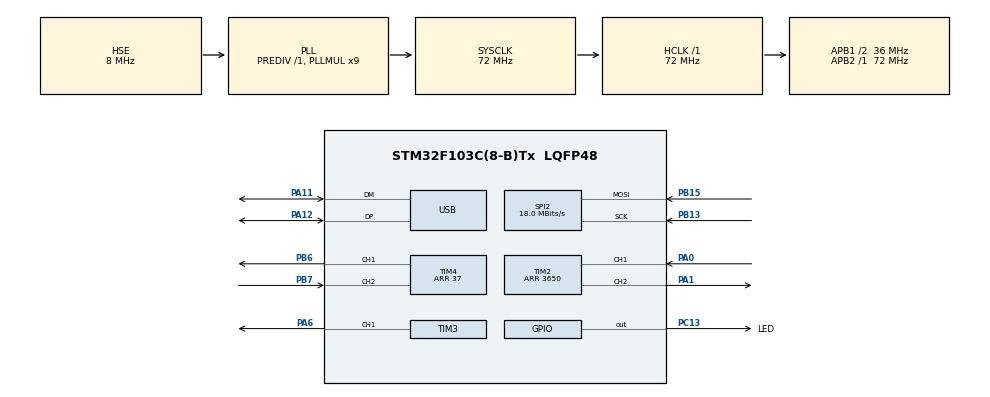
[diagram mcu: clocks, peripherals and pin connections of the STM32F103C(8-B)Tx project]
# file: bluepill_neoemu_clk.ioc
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Mcu.Family=STM32F1
Dma.SPI2_RX.0.Instance=DMA1_Channel4
VP_TIM2_VS_OPM.Mode=OPM_bit
USB_DEVICE.CLASS_NAME_FS=CDC
SPI2.VirtualType=VM_SLAVE
VP_TIM4_VS_OPM.Mode=OPM_bit
PA11.Mode=Device
TIM3.Pulse-Output\ Compare1\ CH1=1
TIM2.Channel-PWM\ Generation2\ CH2=TIM_CHANNEL_2
PB13.Signal=SPI2_SCK
PB15.Signal=SPI2_MOSI
TIM4.TIM_MasterOutputTrigger=TIM_TRGO_OC1
RCC.SYSCLKSource=RCC_SYSCLKSOURCE_PLLCLK
ProjectManager.StackSize=0x400
PD1-OSC_OUT.Signal=RCC_OSC_OUT
PA12.Signal=USB_DP
TIM4.OCFastMode_PWM-PWM\ Generation1\ CH1=TIM_OCFAST_ENABLE
RCC.HCLKFreq_Value=72000000
RCC.APB2TimFreq_Value=72000000
TIM3.Period=7
TIM4.Pulse-PWM\ Generation1\ CH1=1
TIM4.OCMode_PWM-PWM\ Generation1\ CH1=TIM_OCMODE_PWM2
PB6.Signal=S_TIM4_CH1
VP_TIM3_VS_ControllerModeClock.Mode=Clock Mode
RCC.AHBFreq_Value=72000000
SPI2.BaudRatePrescaler=SPI_BAUDRATEPRESCALER_2
VP_TIM4_VS_ControllerModeTrigger.Mode=Trigger Mode
RCC.PLLMUL=RCC_PLL_MUL9
PA14.Mode=Serial_Wire
NVIC.TIM2_IRQn=true\:0\:0\:false\:false\:true\:true\:true
SPI2.CalculateBaudRate=18.0 MBits/s
SH.S_TIM4_CH2.0=TIM4_CH2,TriggerSource_TI2FP2
Dma.SPI2_RX.0.MemDataAlignment=DMA_MDATAALIGN_BYTE
PB7.Signal=S_TIM4_CH2
SH.S_TIM3_CH1.0=TIM3_CH1,Output Compare1 CH1
TIM4.Period=37
VP_TIM3_VS_ClockSourceITR.Mode=TriggerSource_ITR3
Dma.SPI2_RX.0.MemInc=DMA_MINC_ENABLE
Mcu.Package=LQFP48
PA6.Signal=S_TIM3_CH1
SPI2.Mode=SPI_MODE_SLAVE
SPI2.CLKPhase=SPI_PHASE_2EDGE
TIM2.Pulse-PWM\ Generation2\ CH2=3602
TIM2.TIM_MasterOutputTrigger=TIM_TRGO_RESET
SH.S_TIM4_CH1.0=TIM4_CH1,PWM Generation1 CH1
RCC.APB1TimFreq_Value=72000000
SPI2.Direction=SPI_DIRECTION_2LINES_RXONLY
Dma.SPI2_RX.0.Direction=DMA_PERIPH_TO_MEMORY
PB13.Mode=RX_Only_Simplex_Unidirect_Slave
NVIC.DMA1_Channel4_IRQn=true\:0\:0\:false\:false\:true\:false\:true
Dma.Request0=SPI2_RX
TIM4.Channel-PWM\ Generation1\ CH1=TIM_CHANNEL_1
PD1-OSC_OUT.Mode=HSE-External-Oscillator
USB_DEVICE.VirtualModeFS=Cdc_FS
Dma.SPI2_RX.0.Mode=DMA_CIRCULAR
PC13-TAMPER-RTC.Signal=GPIO_Output
RCC.USBPrescaler=RCC_USBCLKSOURCE_PLL_DIV1_5
PD0-OSC_IN.Signal=RCC_OSC_IN
RCC.APB1CLKDivider=RCC_HCLK_DIV2
PA0-WKUP.Signal=S_TIM2_CH1_ETR
PA13.Signal=SYS_JTMS-SWDIO
SH.S_TIM2_CH2.0=TIM2_CH2,PWM Generation2 CH2
Dma.SPI2_RX.0.PeriphDataAlignment=DMA_PDATAALIGN_BYTE
ProjectManager.TargetToolchain=MDK-ARM V5.27
VP_USB_DEVICE_VS_USB_DEVICE_CDC_FS.Mode=CDC_FS
RCC.USBFreq_Value=48000000
PA1.Signal=S_TIM2_CH2
TIM3.Channel-Output\ Compare1\ CH1=TIM_CHANNEL_1
PD0-OSC_IN.Mode=HSE-External-Oscillator
board=custom
PC13-TAMPER-RTC.GPIO_Label=LED
PB15.Mode=RX_Only_Simplex_Unidirect_Slave
NVIC.TIM3_IRQn=true\:0\:0\:false\:false\:true\:true\:true
RCC.APB2Freq_Value=72000000
TIM2.OCMode_PWM-PWM\ Generation2\ CH2=TIM_OCMODE_PWM2
TIM3.OCMode_1=TIM_OCMODE_ACTIVE
NVIC.USB_LP_CAN1_RX0_IRQn=true\:0\:0\:false\:false\:true\:false\:true
TIM2.Period=3650
PA13.Mode=Serial_Wire
Dma.SPI2_RX.0.Priority=DMA_PRIORITY_MEDIUM
Mcu.Name=STM32F103C(8-B)Tx
RCC.SYSCLKFreq_VALUE=72000000
PA12.Mode=Device
VP_TIM2_VS_ControllerModeTrigger.Mode=Trigger Mode
Dma.SPI2_RX.0.PeriphInc=DMA_PINC_DISABLE
PA11.Signal=USB_DM
SH.S_TIM2_CH1_ETR.0=TIM2_CH1,TriggerSource_TI1FP1
PA14.Signal=SYS_JTCK-SWCLK
ProjectManager.HeapSize=0x200
NVIC.PriorityGroup=NVIC_PRIORITYGROUP_4
TIM2.OCFastMode_PWM-PWM\ Generation2\ CH2=TIM_OCFAST_DISABLE
NVIC.TIM4_IRQn=true\:0\:0\:false\:false\:true\:true\:true
RCC.APB1Freq_Value=36000000
USB_DEVICE.VirtualMode=Cdc

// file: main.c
/* USER CODE BEGIN Header */
/**
  ******************************************************************************
  * @file           : main.c
  * @brief          : Main program body
  ******************************************************************************
  * @attention
  *
  * <h2><center>&copy; Copyright (c) 2021 STMicroelectronics.
  * All rights reserved.</center></h2>
  *
  * This software component is licensed by ST under BSD 3-Clause license,
  * the "License"; You may not use this file except in compliance with the
  * License. You may obtain a copy of the License at:
  *                        opensource.org/licenses/BSD-3-Clause
  *
  ******************************************************************************
	This code supports NeoPill, a Neopixel Emulator, where connecting the Neopixel serial data from a device (an Arduino dev board, for example)
	to a STM32 dev board converts the Neopixel serial data to USB serial data (a Neopixel->USB bridge.)
	A PC runs python code that takes this USB data and converts it to colored objects on the screen.

	This code is specific for the STM32F103C8T6 BluePill.

	Lower level:
	Read Neopixel serial data using SPI, where the pixel bitstream is fed into both MOSI and TIM4.
	TIM4 then generates a one-shot pulse (CH1 out) wired to SCK.
	The pulse is configured to match the bitstream timing T0H, T1H of <500ns = 0, >550ns = 1.
	CH2 in delay is 3 clks (Output compare fast enable), and CH1 out has resolution of 13.88ns (72MHz sys clock, Prescaler = 0) per count.
	So each data bit generates a SCK pulse about 550ns duration.

	For 72MHz clock (13.88ns):
	TIM4 ARR for one pulse mode:
	550ns - (3*13.88) = 508.33ns
	508.33ns/13.88 = 36.6 counts min. Make this 37 (555ns) for TIM4 ARR.

	SPI data bytes are DMA'd to a buffer, and sent out USB.
	Input rate testing never got higher than 64kbytes/s, using Arduino Nano target. Max rate should be around 100kbytes/s.

	Neopixel End of Data frame (EoF) (causing each pixel to latch) is 6us or longer of low level, typically stated as >50us.
	TIM3 is clocked from TIM4 ITR3, divided by 8, and is essentially a byte counter of the data going into the SPI.
	Every 8 bits of Neopixel data TIM3's ISR starts/restarts TIM2 one-pulse delay. Upon TIM2 one-pulse timeout an EoF ISR triggers.

	TIM2 Pulse delay:
	50us/13.88ns = 3602 counts.

	The EoF ISR is used to initially sync the SPI data out the USB, assuming the PC side is ready to accept the data. Once sync'd
	and running there is no further syncing.

	For the PC to sync/re-sync with the Neopixel data frames:
	  1) send a one character 'F' to flush the USB (in case re-syncing) and reset the SPI interface.
		2) the PC flushes its USB data as well.
		3) send a one character 'S' to start the data stream after the last EoF.

	For tweaking TIM2, TIM4 timer values a simple text string from the PC is supported:
		'T nnn mmm'
		see pc_host_timing_req() below.

  Environment:
	  CubeMX 6.1.1
	  Keil uVision 5.26
		BluePill STM32F103C8T6, 16kRAM,64kFlash, 72MHz clk.
		All code in main.c, with small mods in usbd_cdc_if.c, usbd_cdc_if.h

	BluePill pinout/timers:

	PB7 TIM4 CH2 input <-serial Neopixel data from external dev bd.

	PB6 TIM4 CH1 output -> generates SPI2_SCK (to PB13), use jumper.
			TIM3 CH1 SPI2 input byte counter (no pins used)
			TIM2 CH1 -> frame end ITR (no pins used)

	PB15 SPI2 MOSI input, Rx DMA1 CH4, <-serial Neopixel data from external dev bd.
	PB13 SPI2 SCK input <- TIM4 CH1 (from PB6)

	LEDs
	PC13 LED_Pin (built-in): red heartbeat, various speeds.

	On PC side, set COM baud rate to max 12,000,000 .

	R. Elwin 5/2021

  */

/* USER CODE END Header */
#include "main.h"
#include "usb_device.h"

/* USER CODE BEGIN Includes */
#include "usbd_cdc_if.h"
#include <limits.h>
/* USER CODE END Includes */

SPI_HandleTypeDef hspi2;
DMA_HandleTypeDef hdma_spi2_rx;

TIM_HandleTypeDef htim2;
TIM_HandleTypeDef htim3;
TIM_HandleTypeDef htim4;

/* USER CODE BEGIN PV */
extern uint8_t CDC_Flush_FS(void);

#define SPI_BSIZE	8192							// also look at USB's APP_TX_DATA_SIZE
uint8_t spi_rx_buffer[SPI_BSIZE];

//items used in an ISR
volatile uint32_t spi_rx_ctr;
volatile uint32_t tim2_ch1_isr_ctr;		//EoF ISR counter
volatile uint32_t frame_byte_ctr;
volatile uint8_t usb_sync_flag,usb_flush_flag;

//helpful debugging aids
uint32_t dbg_spi_isr, dbg_rx_rate;
uint32_t dbg_spi_err, dbg_spi_state;
uint32_t dbg_tim3_ch1_isr;
uint32_t dbg_dma_ctr;
uint32_t dbg_frame_overflow;
uint32_t dbg_tim3_cnt;

//PC host changes default input timings if >0
uint16_t pchost_tim4_Period;
uint16_t pchost_tim2_Pulse;

//USB counters, also helpful for debugging
uint32_t usb_fail;
uint32_t usb_busy;
uint32_t usb_bytes_tx_ctr;

/* USER CODE END PV */

void SystemClock_Config(void);
static void MX_GPIO_Init(void);
static void MX_DMA_Init(void);
static void MX_SPI2_Init(void);
static void MX_TIM2_Init(void);
static void MX_TIM3_Init(void);
static void MX_TIM4_Init(void);

/* USER CODE BEGIN 0 */
//calcs difference between 2 timestamps -- just uint w/rollover.
// ts > last_ts
uint32_t calc_ts_et(uint32_t ts, uint32_t last_ts)
{
  if ( ts >= last_ts )
  {
    return ( ts - last_ts );
  }
  else
  {
    return ( 1 + ts - (ULONG_MAX - last_ts) );
  }
}

/*
Timing change request from PC, in text, 'T nnn mmm'
where:
nnn= T1H bit timing in clks.
mmm= TLL (or reset latch) End of Frame timeout pulse in counts.

(see notes at top)
For 72MHz clock (13.88ns)
ETR -> CH2 delay is 3 clks
TIM2 ARR for one-shot pulse for T1H of 550ns:
	550ns - (3*13.88) = 508.33ns
	508.33ns/13.88 = 36.6 counts min. Make this 38 for TIM4 Period.

TLL's TIM2 Pulse defaults to 3602 counts (50us). TIM2 Period > Pulse (I made this arbitrarily 50.)

*/
void pc_host_timing_req(uint8_t* Buf, uint32_t Len)
{
	char in_str[16];
	int i,j,n;
	uint16_t t1h, tll;

	//strip leading 'T', then '\0-terminate
	for( i=0, j=1; j<Len && i<sizeof(in_str)-1; i++, j++)
	{
		in_str[i] = Buf[j];
	}
	in_str[i] = '\0';
	n = sscanf( in_str, "%hu %hu", &t1h, &tll);

	//save if all's well
	if( n == 2 )
	{
		pchost_tim4_Period = t1h;
		pchost_tim2_Pulse = tll;
	}
}

//for SPI DMA circular buffer, Intr when wrap -- used to track overflow.
void HAL_SPI_RxCpltCallback(SPI_HandleTypeDef *hspi)
{
	spi_rx_ctr += SPI_BSIZE;		//another block read
}

//for testing
void HAL_SPI_ErrorCallback (SPI_HandleTypeDef * hspi)
{
	dbg_spi_err = HAL_SPI_GetError(hspi);							//just returns hspi field, not register
	dbg_spi_state = HAL_SPI_GetState(hspi);
}

/*
TIMER Pulse complete ISR, both TIM2 and TIM3.
Be careful of which channel generates INTR as HAL may enable multiple channels.
Also be careful of ISR latency as the SPI input bit stream is about 10us per byte.

SPI input bit stream is counted by TIM3. Every 8 counts this ISR resets/restarts TIM2 one-shot.
Upon TIM2 one-shot completion, its ISR indicates an End of Frame.

Upon EoF TIM3, TIM4 counters are reset in case we started out of sync with the Neopixel bitstream.
*/

void HAL_TIM_PWM_PulseFinishedCallback(TIM_HandleTypeDef *htim)
{

	if( &htim3 == htim )
	{
		if (htim->Channel == HAL_TIM_ACTIVE_CHANNEL_1)  // we're using TIM3 channel 1
		{
			//input SPI byte counter triggers this intr, resets TIM2 one-shot
			dbg_tim3_ch1_isr++;

			htim2.Instance->EGR |= TIM_EGR_UG;				// UG=1, clears counter, CEN =0
			htim2.Instance->CR1 |= TIM_CR1_CEN;				// CEN =1, now running , or use macro	__HAL_TIM_ENABLE(&htim4);
		}
	}
	else if( &htim2 == htim )
	{
		// TIM2 one-shot expires indicating End of Frame (EoF)
		if (htim->Channel == HAL_TIM_ACTIVE_CHANNEL_2)  // we're using TIM2 channel 2
		{
			uint16_t d;

			dbg_tim3_cnt+=htim3.Instance->CNT;		//test, see if TIM3 clocked during last delay. This indicates we're out of sync.

			//htim3.Instance->CR1 |= TIM_CR1_UDIS;		//URS=1, so no UG INT
			htim3.Instance->EGR |= TIM_EGR_UG;				// UG=1, clears TIM3 counter, in case we started out of sync with bitstream
			htim4.Instance->EGR |= TIM_EGR_UG;				//clear TIM4 too

			tim2_ch1_isr_ctr++;

			//this checks if we're overflowing SPI buffer -- for debug only
			frame_byte_ctr = spi_rx_ctr;
			d = __HAL_DMA_GET_COUNTER( &hdma_spi2_rx );
			if( d > 0 )
				frame_byte_ctr += (SPI_BSIZE - d);	// convert to byte counter with DMA register CNDTR, this is our latest EoF

			if( frame_byte_ctr >= (usb_bytes_tx_ctr + SPI_BSIZE) )		//check if overflowing SPI buffer
				dbg_frame_overflow++;																		//debug counter

		}
	}
}

/* USER CODE END 0 */

int main(void)
{
  /* USER CODE BEGIN 1 */
	uint32_t led_heartbeat = 0;
	uint16_t dmaout_idx;
	uint16_t dmain_ctr, dmaout_ctr;
	uint16_t n, next_ctr;
	int e;
	uint8_t usb_sync_flag2, usb_flush_flag2;
  /* USER CODE END 1 */

  /* MCU Configuration--------------------------------------------------------*/

  /* Reset of all peripherals, Initializes the Flash interface and the Systick. */
  HAL_Init();

  /* Configure the system clock */
  SystemClock_Config();

  /* Initialize all configured peripherals */
  MX_GPIO_Init();
  MX_DMA_Init();
  MX_SPI2_Init();
  MX_TIM2_Init();
  MX_TIM3_Init();
  MX_TIM4_Init();
  MX_USB_DEVICE_Init();
  /* USER CODE BEGIN 2 */

	usb_sync_flag2 = usb_sync_flag;		//init flags

	/****** resync ************/
	//In case PC re-syncs, re-init TIMers, SPI. Don't Touch USB as this causes COM port grief!
	label_resync:

	//undo/redo SPI
	__HAL_DMA_DISABLE_IT( &hdma_spi2_rx, DMA_IT_TC );
	HAL_SPI_DeInit (&hspi2);
	MX_SPI2_Init();

	//turn off TIM 2,3,4
	HAL_TIM_OnePulse_Stop(&htim4,TIM_CHANNEL_1);
	HAL_TIM_OnePulse_Stop_IT (&htim2, TIM_CHANNEL_2);
	HAL_TIM_IC_Stop_IT(&htim3, TIM_CHANNEL_1);

	//de-init'em
	HAL_TIM_OnePulse_DeInit(&htim2);
	HAL_TIM_OnePulse_DeInit(&htim3);
	HAL_TIM_IC_DeInit(&htim4);

	//re-do'em
	MX_TIM2_Init();
	MX_TIM3_Init();
	MX_TIM4_Init();

	/******** end resync ***********/

	//wait for PC sync command
	while( usb_sync_flag2 == usb_sync_flag )
	{
		if( calc_ts_et( HAL_GetTick(), led_heartbeat ) >= 100 )		//fast pulse
		{
			HAL_GPIO_TogglePin(LED_GPIO_Port , LED_Pin );
			led_heartbeat = HAL_GetTick();
		}
	}

	usb_sync_flag2 = usb_sync_flag;		//done w/resync
	usb_flush_flag2 = usb_flush_flag;	//in case flushed

	//'manually' change timings if requested
	if( pchost_tim4_Period )
	{
		htim4.Instance->ARR = pchost_tim4_Period;
	}
	if( pchost_tim2_Pulse )
	{
		htim2.Instance->CCR1 = pchost_tim2_Pulse;
		htim2.Instance->ARR = pchost_tim2_Pulse + 50;  //ARR > CCR1
	}

	// start TIM 2,3,4
	HAL_TIM_OnePulse_Start (&htim4, TIM_CHANNEL_1);				//SCK generator
	HAL_TIM_OnePulse_Start_IT (&htim2, TIM_CHANNEL_2);		//Frame timer, ARR is duration of TMO (CCR1+1), CCR1 = TMO delay
	htim2.Instance->EGR |= TIM_EGR_UG;										// UG=1, clears counter, CEN =0, let TIM3 ISR restart TIM2 to sync properly
	__HAL_TIM_DISABLE_IT(&htim2, TIM_IT_CC1);							//HAL turns on both CH1,2, turn off CH1 intr
	tim2_ch1_isr_ctr = 0;																	//reset before enabling TIM2 ISR

	HAL_TIM_IC_Start_IT (&htim3, TIM_CHANNEL_1);					//start SPI byte counter
	htim3.Instance->CR1 |= TIM_CR1_URS;										//only CNT generates INT

	//wait for Eof to sync to Neopixel bitstream
	while( tim2_ch1_isr_ctr == 0 )
	{
		if( calc_ts_et( HAL_GetTick(), led_heartbeat ) >= 200 )		//less fast pulse, in case SPI bitstream stopped.
		{
			HAL_GPIO_TogglePin(LED_GPIO_Port , LED_Pin );
			led_heartbeat = HAL_GetTick();
		}
	}

	//Will begin a new frame, reset input counters before next frame starts.
	__disable_irq();
	frame_byte_ctr = 0;
	spi_rx_ctr = 0;
	usb_bytes_tx_ctr = 0;
	dmaout_ctr = SPI_BSIZE;
	__enable_irq();

	//start SPI Rx
	HAL_SPI_Receive_DMA ( &hspi2, spi_rx_buffer, SPI_BSIZE);
	__HAL_DMA_ENABLE_IT( &hdma_spi2_rx, DMA_IT_TC );

  /* USER CODE END 2 */

  /* Infinite loop */
  while (1)
  {

    /* USER CODE BEGIN 3 */
		/*
		Read SPI DMA downcounter, if changed convert to index, determine bytes to send to USB.
		Assumes did not wrap from the last read, otherwise buffer overrun (dbg_frame_overflow).
		Ignore CNDTR=0 as this means counter reload in progress -- not sure if our code ever sees this.
		*/

		dmain_ctr = __HAL_DMA_GET_COUNTER( &hdma_spi2_rx );	// DMA register CNDTR is decremented

		if( (dmain_ctr > 0) && (dmain_ctr != dmaout_ctr) )
		{
			if( dmaout_ctr > dmain_ctr )
			{
				n = dmaout_ctr - dmain_ctr;
				next_ctr = dmain_ctr;
			}
			else // dmain_ctr > dmaout_ctr, circular wrap occured, in_cnt =>0 then reloads to SPI_BSIZE
			{
				//do 2 transfers, 1st empties remaining buffer, then wraps, then perform this loop again next poll
				n = dmaout_ctr;				//remaining bytes
				next_ctr = SPI_BSIZE;	//reload out ctr
			}
			dmaout_idx = SPI_BSIZE - dmaout_ctr;	//convert to index 0..SPI_BSIZE-1
			dmaout_ctr = next_ctr;

			//blocking write to USB if waiting for previous transfer, if PC not connected/disconnects we'll overflow and stay in this loop.
			usb_busy = 0;
			while( (e = CDC_Transmit_FS( &spi_rx_buffer[dmaout_idx], n) ) != USBD_OK)
			{
				if( usb_flush_flag2 != usb_flush_flag )
				{
					//PC wants to re-sync, while we're waiting
					CDC_Flush_FS();
					goto label_resync;
				}

				if(e == USBD_BUSY)
				{
					usb_busy++;						//in case waiting for last packet
				}
				else
					usb_fail++;						//some low-level failure, fairly rare.
			}

			if( e == USBD_OK )
			{
				usb_bytes_tx_ctr += n;	//this may wrap
			}
		}

		if( usb_flush_flag2 != usb_flush_flag )
		{
			//PC wants to re-sync
			CDC_Flush_FS();
			goto label_resync;
		}

		//normal heartbeat LED
		if( calc_ts_et( HAL_GetTick(), led_heartbeat ) >= 500 )
		{
			HAL_GPIO_TogglePin(LED_GPIO_Port , LED_Pin );
			led_heartbeat = HAL_GetTick();
		}
  }
  /* USER CODE END 3 */
}

void SystemClock_Config(void)
{
  RCC_OscInitTypeDef RCC_OscInitStruct = {0};
  RCC_ClkInitTypeDef RCC_ClkInitStruct = {0};
  RCC_PeriphCLKInitTypeDef PeriphClkInit = {0};

  /** Initializes the RCC Oscillators according to the specified parameters
  * in the RCC_OscInitTypeDef structure.
  */
  RCC_OscInitStruct.OscillatorType = RCC_OSCILLATORTYPE_HSE;
  RCC_OscInitStruct.HSEState = RCC_HSE_ON;
  RCC_OscInitStruct.HSEPredivValue = RCC_HSE_PREDIV_DIV1;
  RCC_OscInitStruct.HSIState = RCC_HSI_ON;
  RCC_OscInitStruct.PLL.PLLState = RCC_PLL_ON;
  RCC_OscInitStruct.PLL.PLLSource = RCC_PLLSOURCE_HSE;
  RCC_OscInitStruct.PLL.PLLMUL = RCC_PLL_MUL9;
  if (HAL_RCC_OscConfig(&RCC_OscInitStruct) != HAL_OK)
  {
    Error_Handler();
  }
  /** Initializes the CPU, AHB and APB buses clocks
  */
  RCC_ClkInitStruct.ClockType = RCC_CLOCKTYPE_HCLK|RCC_CLOCKTYPE_SYSCLK
                              |RCC_CLOCKTYPE_PCLK1|RCC_CLOCKTYPE_PCLK2;
  RCC_ClkInitStruct.SYSCLKSource = RCC_SYSCLKSOURCE_PLLCLK;
  RCC_ClkInitStruct.AHBCLKDivider = RCC_SYSCLK_DIV1;
  RCC_ClkInitStruct.APB1CLKDivider = RCC_HCLK_DIV2;
  RCC_ClkInitStruct.APB2CLKDivider = RCC_HCLK_DIV1;

  if (HAL_RCC_ClockConfig(&RCC_ClkInitStruct, FLASH_LATENCY_2) != HAL_OK)
  {
    Error_Handler();
  }
  PeriphClkInit.PeriphClockSelection = RCC_PERIPHCLK_USB;
  PeriphClkInit.UsbClockSelection = RCC_USBCLKSOURCE_PLL_DIV1_5;
  if (HAL_RCCEx_PeriphCLKConfig(&PeriphClkInit) != HAL_OK)
  {
    Error_Handler();
  }
}

static void MX_SPI2_Init(void)
{

  /* SPI2 parameter configuration*/
  hspi2.Instance = SPI2;
  hspi2.Init.Mode = SPI_MODE_SLAVE;
  hspi2.Init.Direction = SPI_DIRECTION_2LINES_RXONLY;
  hspi2.Init.DataSize = SPI_DATASIZE_8BIT;
  hspi2.Init.CLKPolarity = SPI_POLARITY_LOW;
  hspi2.Init.CLKPhase = SPI_PHASE_2EDGE;
  hspi2.Init.NSS = SPI_NSS_SOFT;
  hspi2.Init.BaudRatePrescaler = SPI_BAUDRATEPRESCALER_2;
  hspi2.Init.FirstBit = SPI_FIRSTBIT_MSB;
  hspi2.Init.TIMode = SPI_TIMODE_DISABLE;
  hspi2.Init.CRCCalculation = SPI_CRCCALCULATION_DISABLE;
  hspi2.Init.CRCPolynomial = 10;
  if (HAL_SPI_Init(&hspi2) != HAL_OK)
  {
    Error_Handler();
  }

}

static void MX_TIM2_Init(void)
{

  TIM_SlaveConfigTypeDef sSlaveConfig = {0};
  TIM_MasterConfigTypeDef sMasterConfig = {0};
  TIM_OC_InitTypeDef sConfigOC = {0};

  htim2.Instance = TIM2;
  htim2.Init.Prescaler = 0;
  htim2.Init.CounterMode = TIM_COUNTERMODE_UP;
  htim2.Init.Period = 3650;
  htim2.Init.ClockDivision = TIM_CLOCKDIVISION_DIV1;
  htim2.Init.AutoReloadPreload = TIM_AUTORELOAD_PRELOAD_DISABLE;
  if (HAL_TIM_Base_Init(&htim2) != HAL_OK)
  {
    Error_Handler();
  }
  if (HAL_TIM_PWM_Init(&htim2) != HAL_OK)
  {
    Error_Handler();
  }
  if (HAL_TIM_OnePulse_Init(&htim2, TIM_OPMODE_SINGLE) != HAL_OK)
  {
    Error_Handler();
  }
  sSlaveConfig.SlaveMode = TIM_SLAVEMODE_TRIGGER;
  sSlaveConfig.InputTrigger = TIM_TS_TI1FP1;
  sSlaveConfig.TriggerPolarity = TIM_TRIGGERPOLARITY_RISING;
  sSlaveConfig.TriggerFilter = 0;
  if (HAL_TIM_SlaveConfigSynchro(&htim2, &sSlaveConfig) != HAL_OK)
  {
    Error_Handler();
  }
  sMasterConfig.MasterOutputTrigger = TIM_TRGO_RESET;
  sMasterConfig.MasterSlaveMode = TIM_MASTERSLAVEMODE_DISABLE;
  if (HAL_TIMEx_MasterConfigSynchronization(&htim2, &sMasterConfig) != HAL_OK)
  {
    Error_Handler();
  }
  sConfigOC.OCMode = TIM_OCMODE_PWM2;
  sConfigOC.Pulse = 3602;
  sConfigOC.OCPolarity = TIM_OCPOLARITY_HIGH;
  sConfigOC.OCFastMode = TIM_OCFAST_DISABLE;
  if (HAL_TIM_PWM_ConfigChannel(&htim2, &sConfigOC, TIM_CHANNEL_2) != HAL_OK)
  {
    Error_Handler();
  }
  HAL_TIM_MspPostInit(&htim2);

}

static void MX_TIM3_Init(void)
{

  TIM_SlaveConfigTypeDef sSlaveConfig = {0};
  TIM_MasterConfigTypeDef sMasterConfig = {0};
  TIM_OC_InitTypeDef sConfigOC = {0};

  htim3.Instance = TIM3;
  htim3.Init.Prescaler = 0;
  htim3.Init.CounterMode = TIM_COUNTERMODE_UP;
  htim3.Init.Period = 7;
  htim3.Init.ClockDivision = TIM_CLOCKDIVISION_DIV1;
  htim3.Init.AutoReloadPreload = TIM_AUTORELOAD_PRELOAD_DISABLE;
  if (HAL_TIM_Base_Init(&htim3) != HAL_OK)
  {
    Error_Handler();
  }
  if (HAL_TIM_OC_Init(&htim3) != HAL_OK)
  {
    Error_Handler();
  }
  sSlaveConfig.SlaveMode = TIM_SLAVEMODE_EXTERNAL1;
  sSlaveConfig.InputTrigger = TIM_TS_ITR3;
  if (HAL_TIM_SlaveConfigSynchro(&htim3, &sSlaveConfig) != HAL_OK)
  {
    Error_Handler();
  }
  sMasterConfig.MasterOutputTrigger = TIM_TRGO_RESET;
  sMasterConfig.MasterSlaveMode = TIM_MASTERSLAVEMODE_DISABLE;
  if (HAL_TIMEx_MasterConfigSynchronization(&htim3, &sMasterConfig) != HAL_OK)
  {
    Error_Handler();
  }
  sConfigOC.OCMode = TIM_OCMODE_ACTIVE;
  sConfigOC.Pulse = 1;
  sConfigOC.OCPolarity = TIM_OCPOLARITY_HIGH;
  sConfigOC.OCFastMode = TIM_OCFAST_DISABLE;
  if (HAL_TIM_OC_ConfigChannel(&htim3, &sConfigOC, TIM_CHANNEL_1) != HAL_OK)
  {
    Error_Handler();
  }
  HAL_TIM_MspPostInit(&htim3);

}

static void MX_TIM4_Init(void)
{

  TIM_SlaveConfigTypeDef sSlaveConfig = {0};
  TIM_MasterConfigTypeDef sMasterConfig = {0};
  TIM_OC_InitTypeDef sConfigOC = {0};

  htim4.Instance = TIM4;
  htim4.Init.Prescaler = 0;
  htim4.Init.CounterMode = TIM_COUNTERMODE_UP;
  htim4.Init.Period = 37;
  htim4.Init.ClockDivision = TIM_CLOCKDIVISION_DIV1;
  htim4.Init.AutoReloadPreload = TIM_AUTORELOAD_PRELOAD_DISABLE;
  if (HAL_TIM_Base_Init(&htim4) != HAL_OK)
  {
    Error_Handler();
  }
  if (HAL_TIM_PWM_Init(&htim4) != HAL_OK)
  {
    Error_Handler();
  }
  if (HAL_TIM_OnePulse_Init(&htim4, TIM_OPMODE_SINGLE) != HAL_OK)
  {
    Error_Handler();
  }
  sSlaveConfig.SlaveMode = TIM_SLAVEMODE_TRIGGER;
  sSlaveConfig.InputTrigger = TIM_TS_TI2FP2;
  sSlaveConfig.TriggerPolarity = TIM_TRIGGERPOLARITY_RISING;
  sSlaveConfig.TriggerFilter = 0;
  if (HAL_TIM_SlaveConfigSynchro(&htim4, &sSlaveConfig) != HAL_OK)
  {
    Error_Handler();
  }
  sMasterConfig.MasterOutputTrigger = TIM_TRGO_OC1;
  sMasterConfig.MasterSlaveMode = TIM_MASTERSLAVEMODE_DISABLE;
  if (HAL_TIMEx_MasterConfigSynchronization(&htim4, &sMasterConfig) != HAL_OK)
  {
    Error_Handler();
  }
  sConfigOC.OCMode = TIM_OCMODE_PWM2;
  sConfigOC.Pulse = 1;
  sConfigOC.OCPolarity = TIM_OCPOLARITY_HIGH;
  sConfigOC.OCFastMode = TIM_OCFAST_ENABLE;
  if (HAL_TIM_PWM_ConfigChannel(&htim4, &sConfigOC, TIM_CHANNEL_1) != HAL_OK)
  {
    Error_Handler();
  }
  HAL_TIM_MspPostInit(&htim4);

}

static void MX_DMA_Init(void)
{

  /* DMA controller clock enable */
  __HAL_RCC_DMA1_CLK_ENABLE();

  /* DMA interrupt init */
  /* DMA1_Channel4_IRQn interrupt configuration */
  HAL_NVIC_SetPriority(DMA1_Channel4_IRQn, 0, 0);
  HAL_NVIC_EnableIRQ(DMA1_Channel4_IRQn);

}

static void MX_GPIO_Init(void)
{
  GPIO_InitTypeDef GPIO_InitStruct = {0};

  /* GPIO Ports Clock Enable */
  __HAL_RCC_GPIOC_CLK_ENABLE();
  __HAL_RCC_GPIOD_CLK_ENABLE();
  __HAL_RCC_GPIOA_CLK_ENABLE();
  __HAL_RCC_GPIOB_CLK_ENABLE();

  /*Configure GPIO pin Output Level */
  HAL_GPIO_WritePin(LED_GPIO_Port, LED_Pin, GPIO_PIN_RESET);

  /*Configure GPIO pin : LED_Pin */
  GPIO_InitStruct.Pin = LED_Pin;
  GPIO_InitStruct.Mode = GPIO_MODE_OUTPUT_PP;
  GPIO_InitStruct.Pull = GPIO_NOPULL;
  GPIO_InitStruct.Speed = GPIO_SPEED_FREQ_LOW;
  HAL_GPIO_Init(LED_GPIO_Port, &GPIO_InitStruct);

}

void Error_Handler(void)
{
  __disable_irq();
  while (1)
  {
  }
}

/************************ (C) COPYRIGHT STMicroelectronics *****END OF FILE****/
